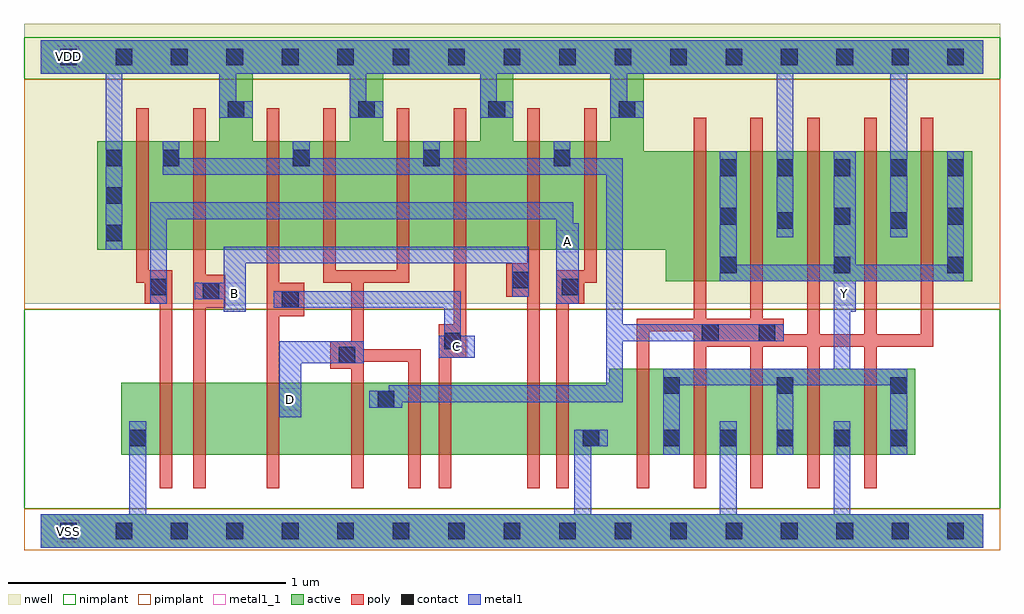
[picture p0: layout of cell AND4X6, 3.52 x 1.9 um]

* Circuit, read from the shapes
.subckt AND4X6 A B C D VDD VSS Y
M1 n1 A VSS VSS nfet w=0.26u l=0.045u
M2 n2 B n1 VSS nfet w=0.26u l=0.045u
M3 n3 C n2 VSS nfet w=0.26u l=0.045u
M4 n4 D n3 VSS nfet w=0.26u l=0.045u
M5 n5 D n4 VSS nfet w=0.26u l=0.045u
M6 n6 C n5 VSS nfet w=0.26u l=0.045u
M7 n7 B n6 VSS nfet w=0.26u l=0.045u
M8 VSS A n7 VSS nfet w=0.26u l=0.045u
M9 Y n4 VSS VSS nfet w=0.31u l=0.045u m=5
M10 n4 A VDD VDD pfet w=0.39u l=0.045u m=2
M11 VDD B n4 VDD pfet w=0.39u l=0.045u m=2
M12 n4 C VDD VDD pfet w=0.39u l=0.045u m=2
M13 VDD D n4 VDD pfet w=0.39u l=0.045u m=2
M14 Y n4 VDD VDD pfet w=0.47u l=0.045u m=5
.ends

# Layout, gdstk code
import gdstk
lib = gdstk.Library(unit=1e-6, precision=5e-10)
def R(c, l, rs):  # rectangles x0, y0, x1, y1
    for r in rs: c.add(gdstk.rectangle(r[:2], r[2:], *l))
def A(c, l, x, y, w, h, nx, ny, dx, dy):  # array of equal rectangles
    R(c, l, [(x+i*dx, y+j*dy, x+i*dx+w, y+j*dy+h) for i in range(nx) for j in range(ny)])
def P(c, l, *ps):  # polygons
    for p in ps: c.add(gdstk.Polygon(p, *l))
active = (1, 0)
nwell = (2, 0)
poly = (3, 0)
nimplant = (4, 0)
pimplant = (5, 0)
contact = (6, 0)
metal1 = (7, 0)
metal1_1 = (7, 1)

and4x6 = lib.new_cell('AND4X6')
R(and4x6, active, [(0,-0.06,3.4,0.06)])
P(and4x6, active, [(0,1.77),(3.4,1.77),(3.4,1.65),(2.175,1.65),(2.175,1.37),(3.36,1.37),(3.36,0.9),(2.255,0.9),(2.255,1.015),(0.205,1.015),(0.205,1.405),(0.645,1.405),(0.645,1.65),(0.765,1.65),(0.765,1.405),(1.115,1.405),(1.115,1.65),(1.235,1.65),(1.235,1.405),(1.585,1.405),(1.585,1.65),(1.705,1.65),(1.705,1.405),(2.055,1.405),(2.055,1.65),(0,1.65)],
  [(2.05,0.585),(3.155,0.585),(3.155,0.275),(0.29,0.275),(0.29,0.535),(2.05,0.535)])
R(and4x6, nwell, [(-0.06,0.82,3.46,1.83)])
P(and4x6, poly, [(0.345,1.525),(0.39,1.525),(0.39,0.94),(0.475,0.94),(0.475,0.155),(0.43,0.155),(0.43,0.82),(0.375,0.82),(0.375,0.895),(0.345,0.895)],
  [(0.55,1.525),(0.595,1.525),(0.595,0.925),(0.665,0.925),(0.665,0.805),(0.595,0.805),(0.595,0.155),(0.55,0.155)],
  [(0.815,1.525),(0.86,1.525),(0.86,0.895),(0.95,0.895),(0.95,0.775),(0.86,0.775),(0.86,0.155),(0.815,0.155)],
  [(1.02,1.525),(1.065,1.525),(1.065,0.94),(1.285,0.94),(1.285,1.525),(1.33,1.525),(1.33,0.895),(1.165,0.895),(1.165,0.655),(1.37,0.655),(1.37,0.155),(1.325,0.155),(1.325,0.61),(1.165,0.61),(1.165,0.155),(1.12,0.155),(1.12,0.585),(1.045,0.585),(1.045,0.685),(1.12,0.685),(1.12,0.895),(1.02,0.895)],
  [(1.49,1.525),(1.535,1.525),(1.535,0.625),(1.48,0.625),(1.48,0.155),(1.435,0.155),(1.435,0.745),(1.49,0.745)],
  [(1.755,1.525),(1.8,1.525),(1.8,0.155),(1.755,0.155),(1.755,0.845),(1.68,0.845),(1.68,0.965),(1.755,0.965)],
  [(1.96,1.525),(2.005,1.525),(2.005,0.895),(1.96,0.895),(1.96,0.82),(1.905,0.82),(1.905,0.155),(1.86,0.155),(1.86,0.94),(1.96,0.94)],
  [(2.355,1.49),(2.4,1.49),(2.4,0.765),(2.56,0.765),(2.56,1.49),(2.605,1.49),(2.605,0.765),(2.68,0.765),(2.68,0.71),(2.765,0.71),(2.765,1.49),(2.81,1.49),(2.81,0.71),(2.97,0.71),(2.97,1.49),(3.015,1.49),(3.015,0.71),(3.175,0.71),(3.175,1.49),(3.22,1.49),(3.22,0.665),(3.015,0.665),(3.015,0.155),(2.97,0.155),(2.97,0.665),(2.81,0.665),(2.81,0.155),(2.765,0.155),(2.765,0.665),(2.605,0.665),(2.605,0.155),(2.56,0.155),(2.56,0.665),(2.4,0.665),(2.4,0.155),(2.355,0.155),(2.355,0.72),(2.195,0.72),(2.195,0.155),(2.15,0.155),(2.15,0.765),(2.355,0.765)])
R(and4x6, nimplant, [(-0.06,0.08,3.46,0.8), (-0.06,1.63,3.46,1.78)])
R(and4x6, pimplant, [(-0.06,-0.07,3.46,0.08), (-0.06,0.8,3.46,1.63)])
A(and4x6, contact, 0.07, -0.03, 0.06, 0.06, 17, 2, 0.2, 1.71)
A(and4x6, contact, 2.245, 0.305, 0.06, 0.06, 5, 1, 0.205, 0)
A(and4x6, contact, 2.245, 0.495, 0.06, 0.06, 3, 1, 0.41, 0)
A(and4x6, contact, 2.45, 0.93, 0.06, 0.06, 3, 2, 0.41, 0.175)
A(and4x6, contact, 0.235, 1.045, 0.06, 0.06, 1, 3, 0, 0.135)
A(and4x6, contact, 2.45, 1.28, 0.06, 0.06, 5, 1, 0.205, 0)
A(and4x6, contact, 0.44, 1.315, 0.06, 0.06, 4, 1, 0.47, 0)
A(and4x6, contact, 0.675, 1.49, 0.06, 0.06, 4, 1, 0.47, 0)
R(and4x6, contact, [(0.32,0.305,0.38,0.365), (1.955,0.305,2.015,0.365), (1.215,0.445,1.275,0.505), (1.075,0.605,1.135,0.665), (1.455,0.655,1.515,0.715), (2.385,0.685,2.445,0.745), (2.59,0.685,2.65,0.745), (0.87,0.805,0.93,0.865), (0.585,0.835,0.645,0.895), (0.395,0.85,0.455,0.91), (1.88,0.85,1.94,0.91), (1.7,0.875,1.76,0.935), (2.655,1.09,2.715,1.15), (3.065,1.09,3.125,1.15)])
P(and4x6, metal1, [(0,1.77),(3.4,1.77),(3.4,1.65),(3.125,1.65),(3.125,1.06),(3.065,1.06),(3.065,1.65),(2.715,1.65),(2.715,1.06),(2.655,1.06),(2.655,1.65),(2.115,1.65),(2.115,1.55),(2.175,1.55),(2.175,1.49),(2.055,1.49),(2.055,1.65),(1.645,1.65),(1.645,1.55),(1.705,1.55),(1.705,1.49),(1.585,1.49),(1.585,1.65),(1.175,1.65),(1.175,1.55),(1.235,1.55),(1.235,1.49),(1.115,1.49),(1.115,1.65),(0.705,1.65),(0.705,1.55),(0.765,1.55),(0.765,1.49),(0.645,1.49),(0.645,1.65),(0.295,1.65),(0.295,1.015),(0.235,1.015),(0.235,1.65),(0,1.65)],
  [(0.44,1.405),(0.5,1.405),(0.5,1.345),(0.91,1.345),(0.91,1.405),(0.97,1.405),(0.97,1.345),(1.38,1.345),(1.38,1.405),(1.44,1.405),(1.44,1.345),(1.85,1.345),(1.85,1.405),(1.91,1.405),(1.91,1.345),(2.1,1.345),(2.1,0.745),(2.68,0.745),(2.68,0.685),(2.1,0.685),(2.1,0.465),(1.305,0.465),(1.305,0.445),(1.185,0.445),(1.185,0.505),(1.255,0.505),(1.255,0.525),(2.04,0.525),(2.04,1.285),(0.44,1.285)],
  [(2.45,1.37),(2.51,1.37),(2.51,0.96),(2.86,0.96),(2.86,1.37),(2.94,1.37),(2.94,0.96),(3.27,0.96),(3.27,1.37),(3.33,1.37),(3.33,0.9),(2.94,0.9),(2.94,0.79),(2.92,0.79),(2.92,0.585),(3.125,0.585),(3.125,0.275),(3.065,0.275),(3.065,0.525),(2.715,0.525),(2.715,0.275),(2.655,0.275),(2.655,0.525),(2.305,0.525),(2.305,0.275),(2.245,0.275),(2.245,0.585),(2.86,0.585),(2.86,0.9),(2.45,0.9)],
  [(0.395,1.185),(1.92,1.185),(1.92,1.11),(1.94,1.11),(1.94,0.82),(1.86,0.82),(1.86,1.125),(0.455,1.125),(0.455,0.82),(0.395,0.82)],
  [(0.66,1.025),(1.76,1.025),(1.76,0.845),(1.7,0.845),(1.7,0.965),(0.74,0.965),(0.74,0.79),(0.66,0.79),(0.66,0.835),(0.555,0.835),(0.555,0.895),(0.66,0.895)],
  [(0.84,0.865),(1.515,0.865),(1.515,0.705),(1.565,0.705),(1.565,0.625),(1.435,0.625),(1.435,0.705),(1.455,0.705),(1.455,0.805),(0.84,0.805)],
  [(0.86,0.685),(1.165,0.685),(1.165,0.605),(0.94,0.605),(0.94,0.41),(0.86,0.41)],
  [(0.32,0.395),(0.38,0.395),(0.38,0.06),(1.925,0.06),(1.925,0.365),(2.045,0.365),(2.045,0.305),(1.985,0.305),(1.985,0.06),(2.45,0.06),(2.45,0.395),(2.51,0.395),(2.51,0.06),(2.86,0.06),(2.86,0.395),(2.92,0.395),(2.92,0.06),(3.4,0.06),(3.4,-0.06),(0,-0.06),(0,0.06),(0.32,0.06)])
R(and4x6, metal1_1, [(0.06,-0.04,0.14,0.04), (0.86,0.435,0.94,0.515), (1.46,0.625,1.54,0.705), (0.66,0.815,0.74,0.895), (2.86,0.815,2.94,0.895), (1.86,1.005,1.94,1.085), (0.06,1.67,0.14,1.75)])
and4x6.add(gdstk.Label('Y', (2.9,0.855), layer=7, texttype=1))
and4x6.add(gdstk.Label('A', (1.9,1.045), layer=7, texttype=1))
and4x6.add(gdstk.Label('B', (0.7,0.855), layer=7, texttype=1))
and4x6.add(gdstk.Label('C', (1.5,0.665), layer=7, texttype=1))
and4x6.add(gdstk.Label('D', (0.9,0.475), layer=7, texttype=1))
and4x6.add(gdstk.Label('VDD', (0.1,1.71), layer=7, texttype=1))
and4x6.add(gdstk.Label('VSS', (0.1,0), layer=7, texttype=1))
and4x6.add(gdstk.Label('AND4X6', (0,0), layer=63, texttype=0))

lib.write_gds('AND4X6.gds')
